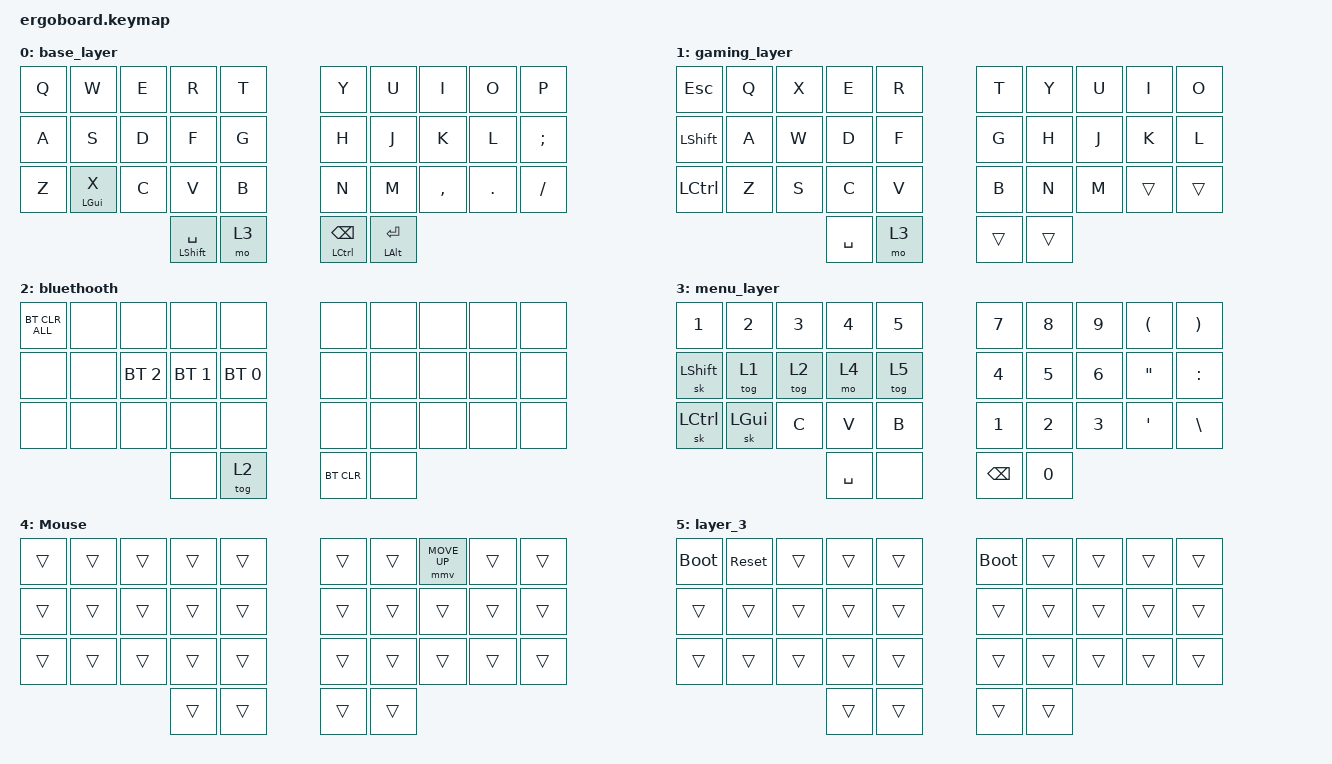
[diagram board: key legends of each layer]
#include <behaviors.dtsi>
#include <dt-bindings/zmk/keys.h>
#include <dt-bindings/zmk/bt.h>
#include <dt-bindings/zmk/pointing.h>


/ {
    combos {
        compatible = "zmk,combos";

        tab {
            bindings = <&kp TAB>;
            key-positions = <0 1>;
            layers = <0>;
        };

        esc {
            bindings = <&kp ESCAPE>;
            key-positions = <10 11>;
            layers = <0>;
        };

        Rpar {
            bindings = <&kp RIGHT_PARENTHESIS>;
            key-positions = <6 7>;
        };

        Dash {
            bindings = <&kp MINUS>;
            key-positions = <5 6>;
        };

        Lpar {
            bindings = <&kp LEFT_PARENTHESIS>;
            key-positions = <2 3>;
        };

        Lbrc {
            bindings = <&kp LEFT_BRACE>;
            key-positions = <12 13>;
        };

        Rbrc {
            bindings = <&kp RIGHT_BRACE>;
            key-positions = <17 16>;
        };

        Rbkt {
            bindings = <&kp RIGHT_BRACKET>;
            key-positions = <26 27>;
        };

        Lbkt {
            bindings = <&kp LEFT_BRACKET>;
            key-positions = <22 23>;
        };

        plus {
            bindings = <&kp PLUS>;
            key-positions = <15 16>;
        };

        excamation {
            bindings = <&kp EXCLAMATION>;
            key-positions = <3 4>;
        };

        and {
            bindings = <&kp AMPERSAND>;
            key-positions = <13 14>;
        };

        equal {
            bindings = <&kp EQUAL>;
            key-positions = <25 26>;
        };

        up {
            bindings = <&kp UP_ARROW>;
            key-positions = <2 7>;
        };
    };

    keymap {
        compatible = "zmk,keymap";

        // This is a sample keymap intended to be replaced with your own

        base_layer {
            bindings = <
&kp Q  &kp W           &kp E  &kp R  &kp T                                               &kp Y               &kp U  &kp I      &kp O    &kp P
&kp A  &kp S           &kp D  &kp F  &kp G                                               &kp H               &kp J  &kp K      &kp L    &kp SEMI
&kp Z  &mt LEFT_GUI X  &kp C  &kp V  &kp B                                               &kp N               &kp M  &kp COMMA  &kp DOT  &kp SLASH
                                     &mt LEFT_SHIFT SPACE  &mo 3    &mt LCTRL BACKSPACE  &mt LEFT_ALT ENTER
            >;
        };

        gaming_layer {
            bindings = <
&kp ESC    &kp Q  &kp X  &kp E  &kp R                       &kp T   &kp Y  &kp U  &kp I   &kp O
&kp LSHFT  &kp A  &kp W  &kp D  &kp F                       &kp G   &kp H  &kp J  &kp K   &kp L
&kp LCTRL  &kp Z  &kp S  &kp C  &kp V                       &kp B   &kp N  &kp M  &trans  &trans
                                &kp SPACE  &mo 3    &trans  &trans
            >;
        };

        bluethooth {
            bindings = <
&bt BT_CLR_ALL  &none  &none         &none         &none                               &none  &none  &none  &none  &none
&none           &none  &bt BT_SEL 2  &bt BT_SEL 1  &bt BT_SEL 0                        &none  &none  &none  &none  &none
&none           &none  &none         &none         &none                               &none  &none  &none  &none  &none
                                                   &none         &tog 2    &bt BT_CLR  &none
            >;
        };

        menu_layer {
            bindings = <
&kp NUMBER_1    &kp NUMBER_2  &kp NUMBER_3  &kp NUMBER_4  &kp N5                             &kp N7        &kp N8        &kp N9        &kp LEFT_PARENTHESIS  &kp RIGHT_PARENTHESIS
&sk LEFT_SHIFT  &tog 1        &tog 2        &mo 4         &tog 5                             &kp NUMBER_4  &kp N5        &kp NUMBER_6  &kp DOUBLE_QUOTES     &kp COLON
&sk LCTRL       &sk LEFT_GUI  &kp C         &kp V         &kp B                              &kp NUMBER_1  &kp NUMBER_2  &kp NUMBER_3  &kp SQT               &kp BACKSLASH
                                                          &kp SPACE  &none    &kp BACKSPACE  &kp N0
            >;
        };

        Mouse {
            bindings = <
&trans  &trans  &trans  &trans  &trans                    &trans  &trans  &mmv MOVE_UP  &trans  &trans
&trans  &trans  &trans  &trans  &trans                    &trans  &trans  &trans        &trans  &trans
&trans  &trans  &trans  &trans  &trans                    &trans  &trans  &trans        &trans  &trans
                                &trans  &trans    &trans  &trans
            >;
        };

        layer_3 {
            bindings = <
&bootloader  &sys_reset  &trans  &trans  &trans                    &bootloader  &trans  &trans  &trans  &trans
&trans       &trans      &trans  &trans  &trans                    &trans       &trans  &trans  &trans  &trans
&trans       &trans      &trans  &trans  &trans                    &trans       &trans  &trans  &trans  &trans
                                         &trans  &trans    &trans  &trans
            >;
        };
    };
};
